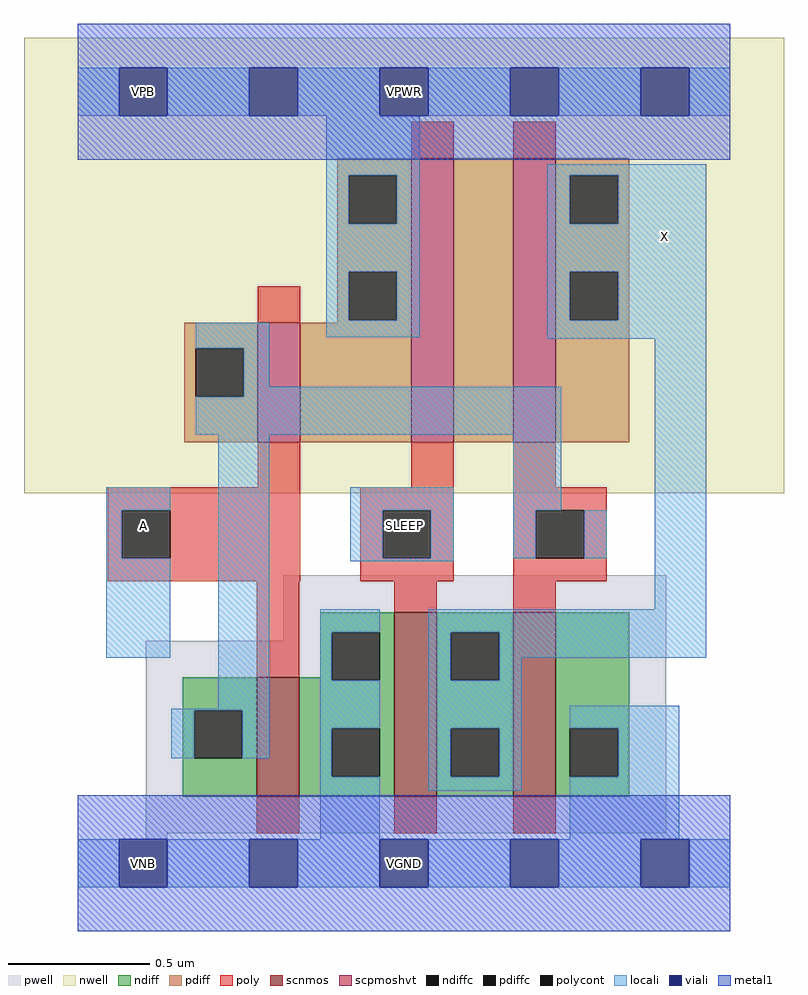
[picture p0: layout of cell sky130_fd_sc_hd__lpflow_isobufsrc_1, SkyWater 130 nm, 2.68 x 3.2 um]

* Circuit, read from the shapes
.subckt sky130_fd_sc_hd__lpflow_isobufsrc_1 A SLEEP VGND VNB VPB VPWR X
XM1 VGND A n1 VNB sky130_fd_pr__nfet_01v8 w=0.42 l=0.15
XM2 X SLEEP VGND VNB sky130_fd_pr__nfet_01v8 w=0.65 l=0.15
XM3 VGND n1 X VNB sky130_fd_pr__nfet_01v8 w=0.65 l=0.15
XM4 VPWR A n1 VPB sky130_fd_pr__pfet_01v8_hvt w=0.42 l=0.15
XM5 n2 SLEEP VPWR VPB sky130_fd_pr__pfet_01v8_hvt w=1 l=0.15
XM6 X n1 n2 VPB sky130_fd_pr__pfet_01v8_hvt w=1 l=0.15
.ends

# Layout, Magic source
magic
tech sky130B
magscale 1 2
<< nwell >>
rect -38 261 498 582
<< pwell >>
rect 145 157 415 203
rect 48 21 415 157
rect 48 17 63 21
rect 29 -17 63 17
<< scnmos >>
rect 126 47 156 131
rect 223 47 253 177
rect 307 47 337 177
<< scpmoshvt >>
rect 127 297 157 381
rect 235 297 265 497
rect 307 297 337 497
<< ndiff >>
rect 171 163 223 177
rect 171 131 179 163
rect 74 108 126 131
rect 74 74 82 108
rect 116 74 126 108
rect 74 47 126 74
rect 156 129 179 131
rect 213 129 223 163
rect 156 95 223 129
rect 156 61 179 95
rect 213 61 223 95
rect 156 47 223 61
rect 253 163 307 177
rect 253 129 263 163
rect 297 129 307 163
rect 253 95 307 129
rect 253 61 263 95
rect 297 61 307 95
rect 253 47 307 61
rect 337 95 389 177
rect 337 61 347 95
rect 381 61 389 95
rect 337 47 389 61
<< pdiff >>
rect 183 485 235 497
rect 183 451 191 485
rect 225 451 235 485
rect 183 417 235 451
rect 183 383 191 417
rect 225 383 235 417
rect 183 381 235 383
rect 75 363 127 381
rect 75 329 83 363
rect 117 329 127 363
rect 75 297 127 329
rect 157 297 235 381
rect 265 297 307 497
rect 337 485 389 497
rect 337 451 347 485
rect 381 451 389 485
rect 337 417 389 451
rect 337 383 347 417
rect 381 383 389 417
rect 337 297 389 383
<< ndiffc >>
rect 82 74 116 108
rect 179 129 213 163
rect 179 61 213 95
rect 263 129 297 163
rect 263 61 297 95
rect 347 61 381 95
<< pdiffc >>
rect 191 451 225 485
rect 191 383 225 417
rect 83 329 117 363
rect 347 451 381 485
rect 347 383 381 417
<< poly >>
rect 235 497 265 523
rect 307 497 337 523
rect 127 381 157 407
rect 127 265 157 297
rect 235 265 265 297
rect 21 249 157 265
rect 21 215 31 249
rect 65 215 157 249
rect 21 199 157 215
rect 199 249 265 265
rect 199 215 215 249
rect 249 215 265 249
rect 199 199 265 215
rect 307 265 337 297
rect 307 249 373 265
rect 307 215 323 249
rect 357 215 373 249
rect 307 199 373 215
rect 126 131 156 199
rect 223 177 253 199
rect 307 177 337 199
rect 126 21 156 47
rect 223 21 253 47
rect 307 21 337 47
<< polycont >>
rect 31 215 65 249
rect 215 215 249 249
rect 323 215 357 249
<< locali >>
rect 0 527 29 561
rect 63 527 121 561
rect 155 527 213 561
rect 247 527 305 561
rect 339 527 397 561
rect 431 527 460 561
rect 175 485 241 527
rect 175 451 191 485
rect 225 451 241 485
rect 175 417 241 451
rect 175 383 191 417
rect 225 383 241 417
rect 83 363 135 381
rect 175 371 241 383
rect 331 485 443 493
rect 331 451 347 485
rect 381 451 443 485
rect 331 417 443 451
rect 331 383 347 417
rect 381 383 443 417
rect 331 370 443 383
rect 117 336 135 363
rect 117 329 341 336
rect 83 302 341 329
rect 20 249 65 265
rect 20 215 31 249
rect 20 145 65 215
rect 99 109 135 302
rect 192 249 265 265
rect 192 215 215 249
rect 249 215 265 249
rect 307 249 341 302
rect 307 215 323 249
rect 357 215 373 249
rect 192 213 265 215
rect 407 179 443 370
rect 66 108 135 109
rect 66 74 82 108
rect 116 74 135 108
rect 171 163 213 179
rect 171 129 179 163
rect 171 95 213 129
rect 171 61 179 95
rect 171 17 213 61
rect 247 163 443 179
rect 247 129 263 163
rect 297 145 443 163
rect 297 129 313 145
rect 247 95 313 129
rect 247 61 263 95
rect 297 61 313 95
rect 247 51 313 61
rect 347 95 424 111
rect 381 61 424 95
rect 347 17 424 61
rect 0 -17 29 17
rect 63 -17 121 17
rect 155 -17 213 17
rect 247 -17 305 17
rect 339 -17 397 17
rect 431 -17 460 17
<< viali >>
rect 29 527 63 561
rect 121 527 155 561
rect 213 527 247 561
rect 305 527 339 561
rect 397 527 431 561
rect 29 -17 63 17
rect 121 -17 155 17
rect 213 -17 247 17
rect 305 -17 339 17
rect 397 -17 431 17
<< metal1 >>
rect 0 561 460 592
rect 0 527 29 561
rect 63 527 121 561
rect 155 527 213 561
rect 247 527 305 561
rect 339 527 397 561
rect 431 527 460 561
rect 0 496 460 527
rect 0 17 460 48
rect 0 -17 29 17
rect 63 -17 121 17
rect 155 -17 213 17
rect 247 -17 305 17
rect 339 -17 397 17
rect 431 -17 460 17
rect 0 -48 460 -17
<< labels >>
flabel locali s 29 221 63 255 0 FreeSans 200 180 0 0 A
port 1 nsew signal input
flabel locali s 397 425 431 459 0 FreeSans 400 180 0 0 X
port 7 nsew signal output
flabel locali s 213 221 247 255 0 FreeSans 200 180 0 0 SLEEP
port 2 nsew signal input
flabel nwell s 29 527 63 561 0 FreeSans 200 0 0 0 VPB
port 5 nsew power bidirectional
flabel pwell s 29 -17 63 17 0 FreeSans 200 0 0 0 VNB
port 4 nsew ground bidirectional
flabel metal1 s 29 -17 63 17 0 FreeSans 200 0 0 0 VGND
port 3 nsew ground bidirectional abutment
flabel metal1 s 29 527 63 561 0 FreeSans 200 0 0 0 VPWR
port 6 nsew power bidirectional abutment
rlabel comment s 0 0 0 0 4 lpflow_isobufsrc_1
rlabel metal1 s 0 -48 460 48 1 VGND
port 3 nsew ground bidirectional abutment
rlabel metal1 s 0 496 460 592 1 VPWR
port 6 nsew power bidirectional abutment
<< properties >>
string FIXED_BBOX 0 0 460 544
string GDS_END 2385496
string GDS_FILE $PDKPATH/libs.ref/sky130_fd_sc_hd/gds/sky130_fd_sc_hd.gds
string GDS_START 2381230
string LEFclass CORE
string LEFsite unithd
string LEFsymmetry X Y R90
string path 0.000 0.000 11.500 0.000 
<< end >>
